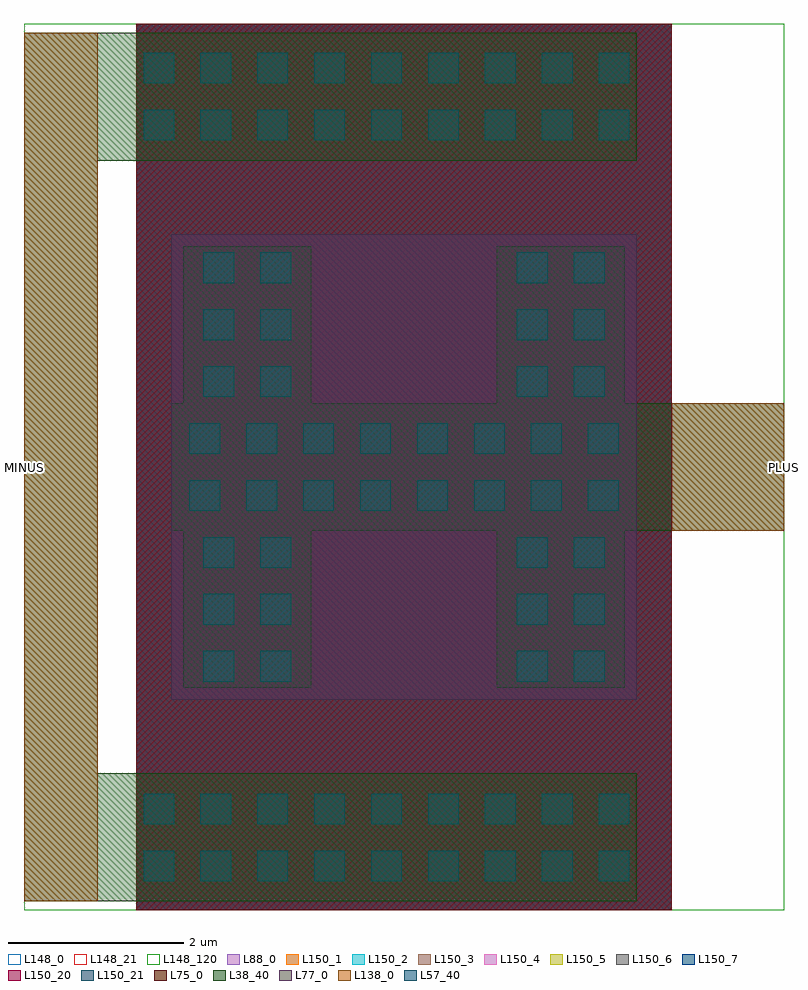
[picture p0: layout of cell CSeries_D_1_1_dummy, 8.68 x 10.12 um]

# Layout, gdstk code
import gdstk
lib = gdstk.Library(unit=1e-6, precision=1e-09)
def R(c, l, rs):  # rectangles x0, y0, x1, y1
    for r in rs: c.add(gdstk.rectangle(r[:2], r[2:], *l))
def A(c, l, x, y, w, h, nx, ny, dx, dy):  # array of equal rectangles
    R(c, l, [(x+i*dx, y+j*dy, x+i*dx+w, y+j*dy+h) for i in range(nx) for j in range(ny)])
L38_40 = (38, 40)
L57_40 = (57, 40)
L75_0 = (75, 0)
L77_0 = (77, 0)
L88_0 = (88, 0)
L138_0 = (138, 0)
L148_0 = (148, 0)
L148_21 = (148, 21)
L148_120 = (148, 120)
L150_1 = (150, 1)
L150_2 = (150, 2)
L150_3 = (150, 3)
L150_4 = (150, 4)
L150_5 = (150, 5)
L150_6 = (150, 6)
L150_7 = (150, 7)
L150_20 = (150, 20)
L150_21 = (150, 21)

cseries_d_1_1_dummy = lib.new_cell('CSeries_D_1_1_dummy')
R(cseries_d_1_1_dummy, L38_40, [(-1.68,-2.3,5.32,-0.84), (-1.68,-0.84,-0.84,6.16), (0.14,0.14,1.6,5.18), (3.72,0.14,5.18,5.18), (0,1.93,7,3.39), (-1.68,6.16,5.32,7.62)])
A(cseries_d_1_1_dummy, L57_40, -0.315, -2.07, 0.35, 0.35, 9, 2, 0.65, 0.65)
A(cseries_d_1_1_dummy, L57_40, 0.37, 0.21, 0.35, 0.35, 1, 3, 0, 0.65)
A(cseries_d_1_1_dummy, L57_40, 1.02, 0.21, 0.35, 0.35, 1, 3, 0, 0.65)
A(cseries_d_1_1_dummy, L57_40, 3.95, 0.21, 0.35, 0.35, 1, 3, 0, 0.65)
A(cseries_d_1_1_dummy, L57_40, 4.6, 0.21, 0.35, 0.35, 1, 3, 0, 0.65)
A(cseries_d_1_1_dummy, L57_40, 0.21, 2.16, 0.35, 0.35, 8, 2, 0.65, 0.65)
A(cseries_d_1_1_dummy, L57_40, 0.37, 3.46, 0.35, 0.35, 1, 3, 0, 0.65)
A(cseries_d_1_1_dummy, L57_40, 1.02, 3.46, 0.35, 0.35, 1, 3, 0, 0.65)
A(cseries_d_1_1_dummy, L57_40, 3.95, 3.46, 0.35, 0.35, 1, 3, 0, 0.65)
A(cseries_d_1_1_dummy, L57_40, 4.6, 3.46, 0.35, 0.35, 1, 3, 0, 0.65)
A(cseries_d_1_1_dummy, L57_40, -0.315, 6.39, 0.35, 0.35, 9, 2, 0.65, 0.65)
R(cseries_d_1_1_dummy, L75_0, [(-0.4,-2.4,5.72,7.72)])
R(cseries_d_1_1_dummy, L77_0, [(0,0,5.32,5.32)])
R(cseries_d_1_1_dummy, L88_0, [(-0.4,-2.4,5.72,7.72)])
R(cseries_d_1_1_dummy, L138_0, [(-1.68,-2.3,-0.84,7.62), (5.72,1.93,7,3.39)])
R(cseries_d_1_1_dummy, L148_0, [(-1.68,-2.4,7,7.72)])
R(cseries_d_1_1_dummy, L148_21, [(-1.68,-2.4,7,7.72)])
R(cseries_d_1_1_dummy, L148_120, [(-1.68,-2.4,7,7.72)])
R(cseries_d_1_1_dummy, L150_1, [(-0.4,-2.4,5.72,7.72)])
R(cseries_d_1_1_dummy, L150_2, [(-0.4,-2.4,5.72,7.72)])
R(cseries_d_1_1_dummy, L150_3, [(-0.4,-2.4,5.72,7.72)])
R(cseries_d_1_1_dummy, L150_4, [(-0.4,-2.4,5.72,7.72)])
R(cseries_d_1_1_dummy, L150_5, [(-0.4,-2.4,5.72,7.72)])
R(cseries_d_1_1_dummy, L150_6, [(-0.4,-2.4,5.72,7.72)])
R(cseries_d_1_1_dummy, L150_7, [(-0.4,-2.4,5.72,7.72)])
R(cseries_d_1_1_dummy, L150_20, [(-0.4,-2.4,5.72,7.72)])
R(cseries_d_1_1_dummy, L150_21, [(-0.4,-2.4,5.72,7.72)])
cseries_d_1_1_dummy.add(gdstk.Label('MINUS', (-1.68,2.66), layer=138, texttype=0))
cseries_d_1_1_dummy.add(gdstk.Label('PLUS', (7,2.66), layer=138, texttype=0))

lib.write_gds('CSeries_D_1_1_dummy.gds')
